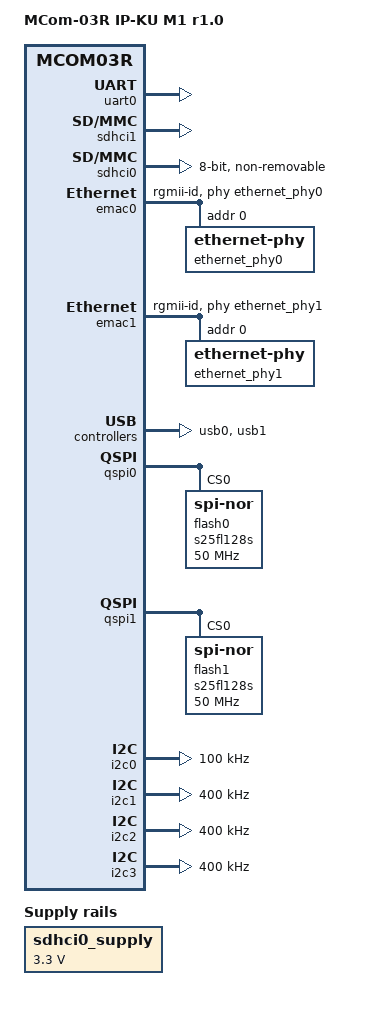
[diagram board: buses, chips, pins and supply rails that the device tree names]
// SPDX-License-Identifier: GPL-2.0+
// Copyright 2025 RnD Center "ELVEES", JSC

/dts-v1/;

#include <dt-bindings/gpio/gpio.h>
#include <dt-bindings/net/ti-dp83869.h>

#include "mcom03r.dtsi"

/ {
	model = "MCom-03R IP-KU M1 r1.0";
	compatible = "elvees,ip-ku-m1-r1.0",
		     "elvees,ip-ku-m1",
		     "elvees,mcom03r";

	chosen {
		stdout-path = "serial0:115200n8";
	};

	sdhci0_supply: regulator@0 {
		compatible = "regulator-fixed";
		regulator-name = "sdhci0-supply";
		regulator-min-microvolt = <3300000>;
		regulator-max-microvolt = <3300000>;
		regulator-always-on;
	};
};

&uart0 {
	status = "okay";
	clock-frequency = <27920454>;
};

&sdhci1 {
	status = "okay";

	/* Disable High Speed support
	 * Disable 1.8V support
	 * Disable SDR50, SDR104 and DDR50 support
	 */
	sdhci-caps-mask = <0x7 0x4200000>;
	sdhci-caps = <0x0 0x0>;
};

&sdhci0 {
	status = "okay";
	non-removable;
	bus-width = <8>;
	vqmmc-supply = <&sdhci0_supply>;
	elvees,drive-strength-clk = <8>;
};

&emac0 {
	status = "okay";
	// elvees,pads-1v8-en;
	phy-mode = "rgmii-id";
	phy-handle = <&ethernet_phy0>;

	ethernet_phy0: ethernet-phy@0 {
		reg = <0x0>;
		ti,op-mode = <DP83869_RGMII_COPPER_ETHERNET>;
		tx-internal-delay-ps = <2000>;
		max-speed = <100>;
	};
};

&emac1 {
	status = "okay";
	// elvees,pads-1v8-en;
	phy-mode = "rgmii-id";
	phy-handle = <&ethernet_phy1>;

	ethernet_phy1: ethernet-phy@0 {
		reg = <0x0>;
		ti,op-mode = <DP83869_RGMII_COPPER_ETHERNET>;
		tx-internal-delay-ps = <2000>;
		max-speed = <100>;
	};
};

&usb0 {
	status = "okay";
};

&usb1 {
	status = "okay";
};

&qspi0 {
	status = "okay";

	flash0: s25fl128s@0 {
		#address-cells = <1>;
		#size-cells = <1>;
		compatible = "jedec,spi-nor", "spi-flash";
		reg = <0x0>;
		/* This is the highest frequency at which all commands are
		 * supported by the flash device.
		 */
		spi-max-frequency = <50000000>;

		spi-tx-bus-width = <4>;
		spi-rx-bus-width = <4>;
	};
};

&qspi1 {
	status = "okay";

	flash1: s25fl128s@1 {
		#address-cells = <1>;
		#size-cells = <1>;
		compatible = "jedec,spi-nor", "spi-flash";
		reg = <0x0>;
		/* This is the highest frequency at which all commands are
		 * supported by the flash device.
		 */
		spi-max-frequency = <50000000>;
	};
};

&i2c0 {
	clock-frequency = <100000>;
	status = "okay";
	// 0x50, 0x30 - EEPROM AT34C04 DD67 (up to 1 MHz)
	// 0x51, 0x31 - EEPROM AT34C04 DD68 (up to 1 MHz)
	// 0x1b - FAN TC664 DA86 (100 kHz)
	// Connector PLD XP89
	// Connector CAM0 (CSI0) XS15
};

&i2c1 {
	clock-frequency = <400000>;
	status = "okay";
	// Si598 G5 (400 kHz)
	// Connector PLS XP99
};

&i2c2 {
	clock-frequency = <400000>;
	status = "okay";
	// Si598 G6 (400 kHz)
	// Connector PLS XP100
};

&i2c3 {
	clock-frequency = <400000>;
	status = "okay";
	// Si598 G8 (400 kHz)
	// Connector PLS XP101
};
